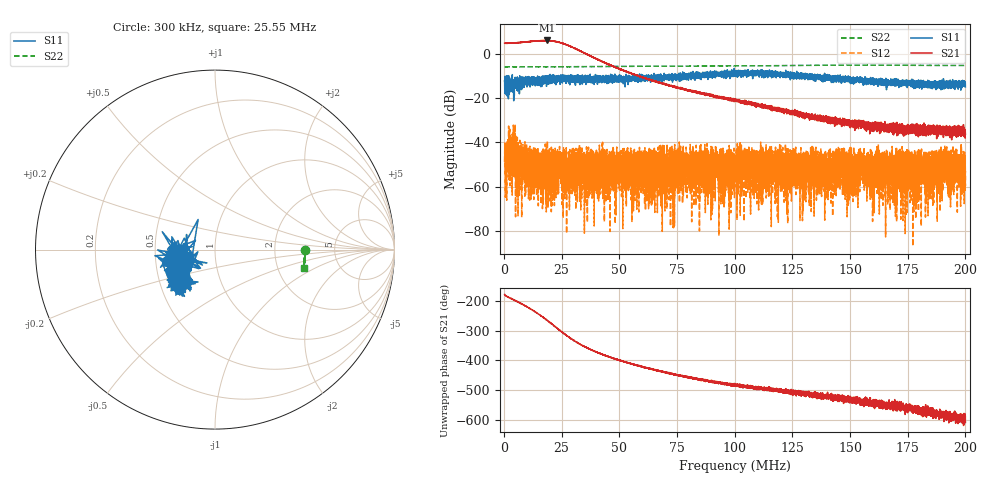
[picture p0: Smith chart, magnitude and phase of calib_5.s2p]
# Hz S DB R 50
! CMT, M5065, 19127446, 24.2.4/2
! Date: 11/8/2024 3:35:29 PM
! Data: Format (Calibration Info)
! Freq	S11:dB/Ang(F2)	S21:dB/Ang(F2)	S12:dB/Ang(F2)	S22:dB/Ang(F2)
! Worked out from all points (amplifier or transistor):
!   9000 points, 300 kHz to 200 MHz, reference 50 ohm
!   highest |S21| = 5.9 dB at 18.72 MHz (marker M1)
!   |S21| within 3 dB of that: start of sweep to 29.54 MHz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
!   unconditionally stable (mu >= 1): start of sweep to end of sweep
!   at 33.59 MHz: K = 123.68, MAG = 2.8 dB, |S12| = -52.4 dB
!   at 100.2 MHz: K = 1386.42, MAG = -19.3 dB, |S12| = -51.5 dB
!   at 200 MHz: K = 9923.63, MAG = -34.7 dB, |S12| = -52.9 dB
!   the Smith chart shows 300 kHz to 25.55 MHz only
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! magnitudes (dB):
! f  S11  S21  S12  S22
! 300 kHz  -12.4  4.7  -48.8  -6.0
! 2.408 MHz  -13.6  4.8  -49.8  -6.0
! 6.269 MHz  -16.1  4.9  -47.3  -6.0
! 18.72 MHz  -10.0  5.9  -56.5  -6.0
! 33.59 MHz  -10.0  1.0  -52.4  -5.9
! 66.87 MHz  -11.2  -12.9  -49.1  -5.6
! 71.62 MHz  -11.6  -14.5  -55.5  -5.6
! 73 MHz  -11.1  -14.7  -45.4  -5.6
! 76.73 MHz  -9.8  -15.7  -51.1  -5.6
! 89.66 MHz  -10.3  -18.2  -50.7  -5.6
! 91.88 MHz  -9.1  -19.7  -47.6  -5.6
! 100.2 MHz  -9.6  -21.2  -51.5  -5.6
! 120 MHz  -9.9  -25.4  -61.8  -5.4
! 122 MHz  -9.1  -26.1  -46.8  -5.4
! 125.5 MHz  -10.6  -26.7  -48.6  -5.4
! 133.4 MHz  -9.6  -28.0  -47.3  -5.3
! 145.7 MHz  -9.6  -30.7  -48.4  -5.2
! 149.4 MHz  -11.5  -32.4  -51.1  -5.2
! 154.6 MHz  -11.9  -31.6  -51.4  -5.2
! 159.5 MHz  -12.3  -32.3  -48.1  -5.2
! 166.7 MHz  -12.2  -32.9  -60.2  -5.2
! 200 MHz  -15.0  -36.3  -52.9  -5.4
